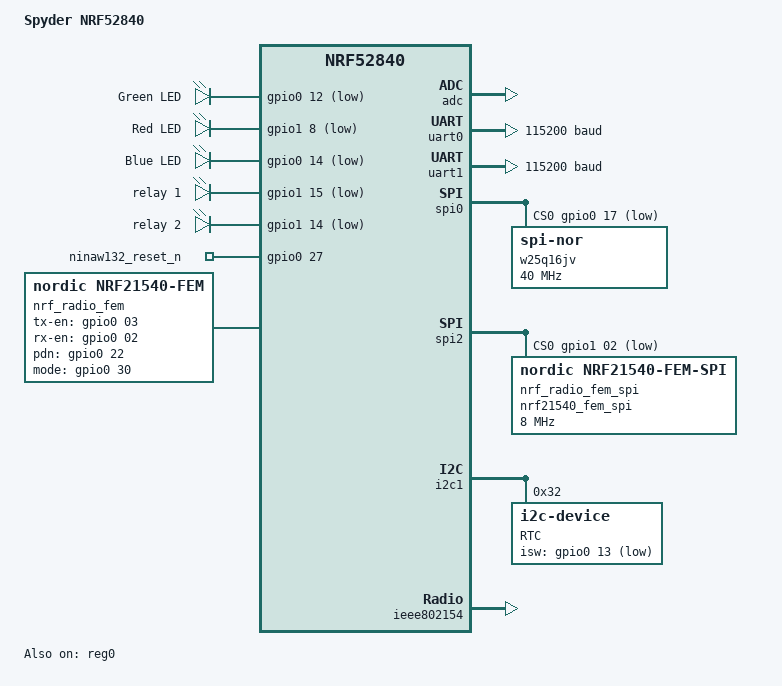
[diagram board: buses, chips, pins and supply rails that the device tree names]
// Copyright (c) 2023 Nordic Semiconductor ASA
// SPDX-License-Identifier: Apache-2.0

/dts-v1/;
#include <nordic/nrf52840_qiaa.dtsi>
#include "spyder_nrf52840_nrf52840-pinctrl.dtsi"
#include <zephyr/dt-bindings/input/input-event-codes.h>

/ {
	model = "Spyder NRF52840";
	compatible = "assa-abloy,spyder-nrf52840";

	chosen {
		zephyr,console = &uart0;
		zephyr,shell-uart = &uart0;
		zephyr,uart-mcumgr = &uart0;
		zephyr,bt-mon-uart = &uart0;
		zephyr,bt-c2h-uart = &uart0;
		zephyr,sram = &sram0;
		zephyr,flash = &flash0;
		zephyr,code-partition = &slot0_partition;
		zephyr,ieee802154 = &ieee802154;
		nordic,pm-ext-flash = &w25q16jv;
	};

	leds {
		compatible = "gpio-leds";

		led_g: led_g {
			gpios = <&gpio0 12 GPIO_ACTIVE_LOW>;
			label = "Green LED";
		};

		led_r: led_r {
			gpios = <&gpio1 8 GPIO_ACTIVE_LOW>;
			label = "Red LED";
		};

		led_b: led_b {
			gpios = <&gpio0 14 GPIO_ACTIVE_LOW>;
			label = "Blue LED";
		};

		relay_1: relay_1 {
			gpios = <&gpio1 15 GPIO_ACTIVE_LOW>;
			label = "relay 1";
		};

		relay_2: relay_2 {
			gpios = <&gpio1 14 GPIO_ACTIVE_LOW>;
			label = "relay 2";
		};

		ninaw132_reset_n: ninaw132_reset_n {
			gpios = <&gpio0 27 GPIO_ACTIVE_HIGH>;
			label = "ninaw132_reset_n";
		};
	};

	buttons {
		compatible = "gpio-keys";
	};

	nrf_radio_fem: nrf21540_fem {
		compatible = "nordic,nrf21540-fem";
		tx-en-gpios = <&gpio0 03 GPIO_ACTIVE_HIGH>;
		rx-en-gpios = <&gpio0 02 GPIO_ACTIVE_HIGH>;
		pdn-gpios = <&gpio0 22 GPIO_ACTIVE_HIGH>;
		mode-gpios = <&gpio0 30 GPIO_ACTIVE_HIGH>;
		spi-if = <&fem_spi>;
	};

	/* These aliases are provided for compatibility with samples */
	aliases {
		ledr = &led_r;
		ledg = &led_g;
		ledb = &led_b;
		relay1 = &relay_1;
		relay2 = &relay_2;
		watchdog0 = &wdt0;
		spi-flash0 = &w25q16jv;
		ninaw132reset = &ninaw132_reset_n;
	};
};

&adc {
	status = "okay";
};

&uicr {
	gpio-as-nreset;
};

&gpiote {
	status = "okay";
};

&gpio0 {
	status = "okay";
};

&gpio1 {
	status = "okay";
};

&uart0 {
	compatible = "nordic,nrf-uarte";
	status = "okay";
	current-speed = <115200>;
	pinctrl-0 = <&uart0_default>;
	pinctrl-1 = <&uart0_sleep>;
	pinctrl-names = "default", "sleep";
};

&uart1 {
	compatible = "nordic,nrf-uarte";
	status = "okay";
	current-speed = <115200>;
	pinctrl-0 = <&uart1_default>;
	pinctrl-1 = <&uart1_sleep>;
	pinctrl-names = "default", "sleep";
	hw-flow-control;
};

&reg0 {
	status = "okay";
};

&reg1 {
	regulator-initial-mode = <NRF5X_REG_MODE_DCDC>;
};

&spi0 {
	compatible = "nordic,nrf-spim";
	/* Cannot be used together with i2c0. */
	status = "okay";
	pinctrl-0 = <&spi0_default>;
	pinctrl-1 = <&spi0_sleep>;
	pinctrl-names = "default", "sleep";
	cs-gpios = <&gpio0 17 GPIO_ACTIVE_LOW>;

	w25q16jv: w25q16jv@0 {
		compatible = "jedec,spi-nor";
		reg = <0>;
		spi-max-frequency = <40000000>;
		size = <0x1000000>;
		has-dpd;
		t-enter-dpd = <3000>;
		t-exit-dpd = <30000>;
		jedec-id = [ef 70 15];
	};
};

fem_spi: &spi2 {
	status = "okay";
	cs-gpios = <&gpio1 02 GPIO_ACTIVE_LOW>;

	nrf_radio_fem_spi: nrf21540_fem_spi@0 {
		compatible = "nordic,nrf21540-fem-spi";
		status = "okay";
		reg = <0>;
		spi-max-frequency = <8000000>;
	};
};

&spi2 {
	compatible = "nordic,nrf-spi";
	status = "okay";
	pinctrl-0 = <&spi2_default>;
	pinctrl-1 = <&spi2_sleep>;
	pinctrl-names = "default", "sleep";
};

&i2c0 {
	status = "disabled";
};

&i2c1 {
	compatible = "nordic,nrf-twi";
	status = "okay";
	pinctrl-0 = <&i2c1_default>;
	pinctrl-1 = <&i2c1_sleep>;
	pinctrl-names = "default", "sleep";

	rx8130: rx8130@32 {
		compatible = "i2c-device";
		label = "RTC";
		reg = <0x32>;
		isw-gpios = <&gpio0 13 (GPIO_PULL_UP | GPIO_ACTIVE_LOW)>;
	};
};

&ieee802154 {
	status = "okay";
};

&flash0 {
	partitions {
		compatible = "fixed-partitions";
		#address-cells = <1>;
		#size-cells = <1>;

		boot_partition: partition@0 {
			label = "mcuboot";
			reg = <0x00000000 0x0000C000>;
		};

		slot0_partition: partition@c000 {
			label = "image-0";
			reg = <0x0000C000 0x00076000>;
		};

		slot1_partition: partition@82000 {
			label = "image-1";
			reg = <0x00082000 0x00076000>;
		};

		storage_partition: partition@f8000 {
			label = "storage";
			reg = <0x000f8000 0x00008000>;
		};
	};
};

zephyr_udc0: &usbd {
	compatible = "nordic,nrf-usbd";
	status = "disabled";
};
